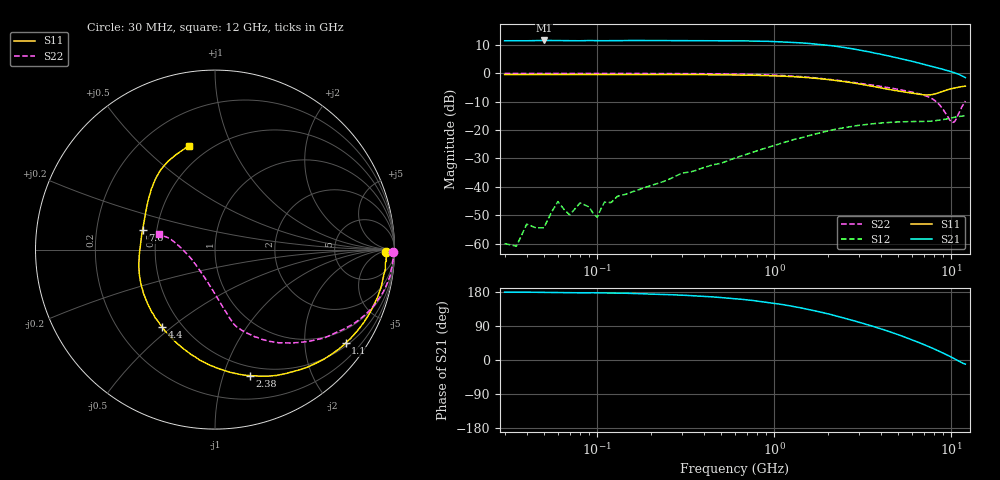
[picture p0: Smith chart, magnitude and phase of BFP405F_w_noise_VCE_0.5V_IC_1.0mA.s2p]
! Infineon Technologies  Discrete & RF Semiconductors
! BFP405F
! VCE =  0.5 V,  IC =  1.0 mA
! Common Emitter S-Parameters:  Nov 2015
# GHz  S  MA  R  50
!  f  S11  S21  S12  S22
! GHz  MAG  ANG  MAG  ANG  MAG  ANG  MAG  ANG
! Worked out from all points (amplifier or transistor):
!   239 points, 30 MHz to 12 GHz, reference 50 ohm
!   highest |S21| = 11.6 dB at 50 MHz (marker M1)
!   |S21| within 3 dB of that: start of sweep to 2.796 GHz
!   unconditionally stable (mu >= 1): 4.592 GHz to end of sweep
!   at 300 MHz: K = 0.00, MSG = 23.4 dB, |S12| = -35.2 dB
!   at 1.88 GHz: K = 0.29, MSG = 15.4 dB, |S12| = -20.7 dB
!   at 12 GHz: K = 1.96, MAG = 1.1 dB, |S12| = -14.9 dB
!   lowest NFmin = 0.95 dB at 450 MHz
!   S11 on the Smith chart (normalised r, x): 30 MHz: 38, -12; 1.1 GHz: 0.57, -3.02; 2.38 GHz: 0.41, -1.23; 4.4 GHz: 0.39, -0.47; 7.6 GHz: 0.42, +0.11; 12 GHz: 0.39, +0.71
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0.03  0.9533 -0.9  3.75 179.0  0.001 -40.7  0.9944 -0.7
0.035  0.9541 -1.1  3.752 179.0  0.0009 59.1  0.9955 -0.8
0.04  0.955 -1.3  3.753 179.0  0.0022 85.7  0.9967 -0.9
0.05  0.9553 -1.7  3.801 178.4  0.0019 42.2  0.9992 -0.9
0.06  0.9544 -1.8  3.776 178.2  0.0055 87.7  0.9974 -1.1
0.07  0.9549 -2.1  3.77 177.4  0.0032 135.1  0.996 -1.2
0.08  0.9544 -2.7  3.752 177.3  0.0052 106.9  0.9972 -1.5
0.085  0.9549 -2.9  3.77 177.4  0.0048 110.6  0.9957 -1.8
0.1  0.954 -3.2  3.76 177.2  0.0029 73.5  0.9945 -2.2
0.11  0.9564 -3.6  3.758 176.8  0.0054 88.6  0.9948 -2.3
0.24  0.9522 -7.9  3.786 172.9  0.0126 84.4  0.9918 -5.1
0.6  0.9367 -19.6  3.748 161.7  0.0322 79.9  0.9729 -12.6
1.1  0.8956 -35.6  3.578 146.7  0.059 70.3  0.9189 -22.5
1.64  0.8291 -52.6  3.323 131.4  0.0829 59.8  0.8434 -31.6
2.38  0.729 -74.5  2.924 112.9  0.1076 47.1  0.7411 -43.3
3.3  0.6202 -98.1  2.451 94.2  0.1259 35.0  0.642 -54.0
4.4  0.5225 -124.1  2.035 75.9  0.1368 25.1  0.5612 -62.7
4.5  0.5167 -126.4  2.006 74.5  0.1368 24.6  0.5547 -63.3
5.8  0.4551 -155.0  1.669 55.8  0.1416 17.2  0.4768 -71.3
7.6  0.4185 164.7  1.346 33.7  0.1435 13.5  0.3718 -78.9
10.2  0.5441 122.0  1.049 5.5  0.1664 10.6  0.1366 -144.0
12  0.5958 103.8  0.843 -10.9  0.1807 7.9  0.3253 165.0
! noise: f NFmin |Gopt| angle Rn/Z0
0.45  0.95  0.71  8  0.64
0.9  0.98  0.67  15  0.67
1.5  1.19  0.65  22  0.58
1.9  1.27  0.61  31  0.56
2.4  1.5  0.57  41  0.57
3  1.58  0.55  52  0.52
3.5  1.65  0.54  62  0.48
4.5  1.9  0.46  83  0.38
5.5  2.29  0.32  105  0.28
